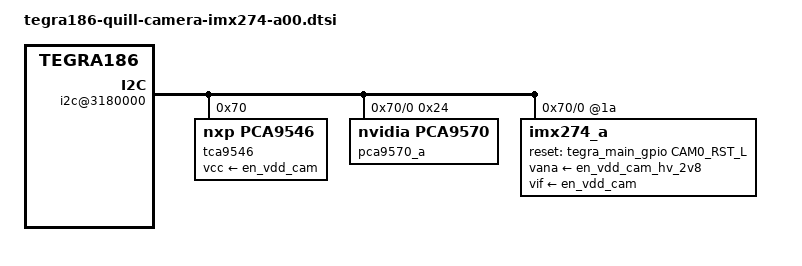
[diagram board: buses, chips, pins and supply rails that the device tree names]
/*
 * Copyright (c) 2017, NVIDIA CORPORATION.  All rights reserved.
 *
 * This program is free software; you can redistribute it and/or modify
 * it under the terms of the GNU General Public License as published by
 * the Free Software Foundation; either version 2 of the License, or
 * (at your option) any later version.
 *
 * This program is distributed in the hope that it will be useful, but WITHOUT
 * ANY WARRANTY; without even the implied warranty of MERCHANTABILITY or
 * FITNESS FOR A PARTICULAR PURPOSE.  See the GNU General Public License for
 * more details.
 *
 * You should have received a copy of the GNU General Public License
 * along with this program.  If not, see <http://www.gnu.org/licenses/>.
 */
#include <t18x-common-modules/tegra186-camera-imx274-a00.dtsi>
#include "dt-bindings/clock/tegra186-clock.h"

#define CAM0_RST_L	TEGRA_MAIN_GPIO(R, 5)
#define CAM0_PWDN	TEGRA_MAIN_GPIO(R, 0)
#define CAM1_RST_L	TEGRA_MAIN_GPIO(R, 1)
#define CAM1_PWDN	TEGRA_MAIN_GPIO(L, 6)
#define CAMERA_I2C_MUX_BUS(x) (0x1E + x)

/* camera control gpio definitions */

/ {
	i2c@3180000 {
		tca9546@70 {
			compatible = "nxp,pca9546";
			reg = <0x70>;
			#address-cells = <1>;
			#size-cells = <0>;
			skip_mux_detect = "yes";
			vcc-supply = <&en_vdd_cam>;
			vcc_lp = "vcc";
                        force_bus_start = <CAMERA_I2C_MUX_BUS(0)>;

			i2c@0 {
				reg = <0>;
				i2c-mux,deselect-on-exit;
				#address-cells = <1>;
				#size-cells = <0>;
				pca9570_a@24 {
					compatible = "nvidia,pca9570";
					reg = <0x24>;
					channel = "a";
					drive_ic = "DRV8838";
				};

				imx274_a@1a {
					/* Define any required hw resources needed by driver */
					/* ie. clocks, io pins, power sources */
					clocks = <&tegra_car TEGRA186_CLK_EXTPERIPH1>,
							 <&tegra_car TEGRA186_CLK_PLLP_OUT0>;
					clock-names = "extperiph1", "pllp_grtba";
					mclk = "extperiph1";
					reset-gpios = <&tegra_main_gpio CAM0_RST_L GPIO_ACTIVE_HIGH>;
					vana-supply = <&en_vdd_cam_hv_2v8>;
					vif-supply = <&en_vdd_cam>;
				};
			};
		};
	};
};
